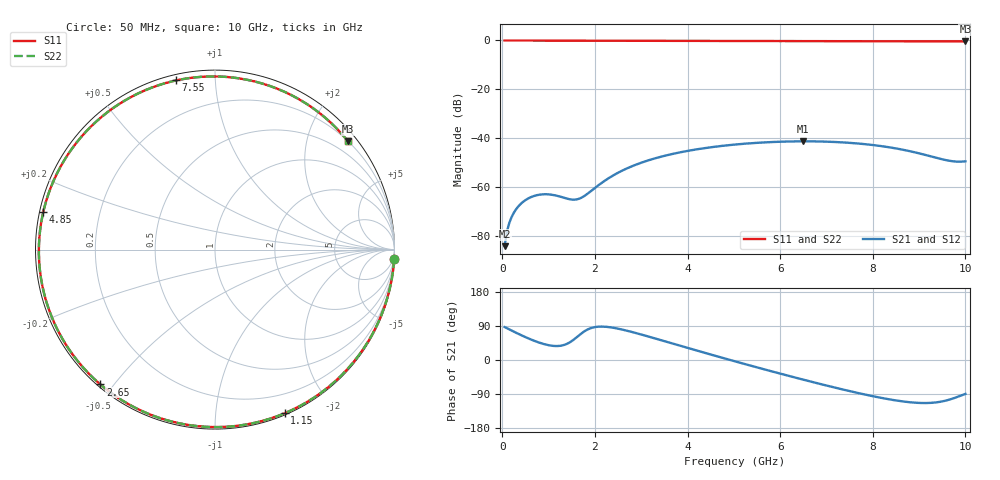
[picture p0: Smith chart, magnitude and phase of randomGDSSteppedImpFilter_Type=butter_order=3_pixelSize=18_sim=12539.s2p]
! freq	dB(S11)	phase(S11)	dB(S12)	phase(S12)
!  dB(S21)	phase(S21)	dB(S22)	phase(S22)
!S-par simulation data
#  GHz  S  DB  R 50
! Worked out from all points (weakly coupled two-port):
!   200 points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, 50 MHz to 10 GHz, reference 50 ohm
!   highest |S21| = -41.26 dB at 6.5 GHz (marker M1); lowest = -84.1 dB at 50 MHz (marker M2)
!   lowest |S11| = -0.4 dB at 10 GHz (marker M3), VSWR 43.73, Z = 10.2 + j140 ohm
!   |S11| at or under -10 dB: nowhere
!   |S22| runs from -0.4 to 0.0 dB; largest |S21 - S12| = 0
!   S11 on the Smith chart (normalised r, x): 50 MHz: 0, -37; 1.15 GHz: 0.01, -1.51; 2.65 GHz: 0.01, -0.46; 4.85 GHz: 0.01, +0.11; 7.55 GHz: 0.03, +0.80; 10 GHz: 0.20, +2.80
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0.05  -0.00 -3.1  -84.14 86.9  -84.14 86.9  -0.00 -3.1
0.2  -0.02 -12.4  -72.27 77.8  -72.27 77.8  -0.02 -12.4
0.25  -0.02 -15.5  -70.44 74.8  -70.44 74.8  -0.02 -15.5
0.45  -0.04 -27.6  -65.99 63.2  -65.99 63.2  -0.04 -27.6
0.75  -0.06 -45.1  -63.27 47.9  -63.27 47.9  -0.06 -45.1
1.15  -0.08 -66.9  -63.38 36.9  -63.38 36.9  -0.08 -66.9
1.55  -0.09 -86.5  -65.12 54.5  -65.12 54.5  -0.09 -86.5
1.75  -0.10 -95.6  -63.88 73.9  -63.88 73.9  -0.10 -95.6
2.25  -0.11 -116.0  -56.90 87.5  -56.90 87.5  -0.11 -116.0
2.65  -0.12 -130.4  -52.69 78.6  -52.69 78.6  -0.12 -130.4
3.4  -0.14 -154.1  -47.68 53.3  -47.68 53.3  -0.14 -154.1
4.1  -0.16 -173.4  -44.84 28.5  -44.84 28.5  -0.16 -173.4
4.85  -0.18 167.6  -42.90 2.4  -42.90 2.4  -0.18 167.5
5.05  -0.19 162.7  -42.53 -4.4  -42.53 -4.4  -0.19 162.7
5.75  -0.21 145.9  -41.61 -27.7  -41.61 -27.7  -0.21 145.9
6.5  -0.25 128.2  -41.26 -51.9  -41.26 -51.9  -0.25 128.2
6.7  -0.25 123.4  -41.27 -58.2  -41.27 -58.2  -0.25 123.4
7.55  -0.29 102.9  -41.95 -83.5  -41.95 -83.5  -0.29 102.9
8.35  -0.32 82.9  -43.68 -103.7  -43.68 -103.7  -0.32 82.9
9.15  -0.36 62.2  -46.89 -113.6  -46.89 -113.6  -0.36 62.1
9.65  -0.38 48.7  -49.20 -104.8  -49.20 -104.8  -0.38 48.7
10  -0.40 39.1  -49.45 -89.5  -49.45 -89.5  -0.40 39.1
